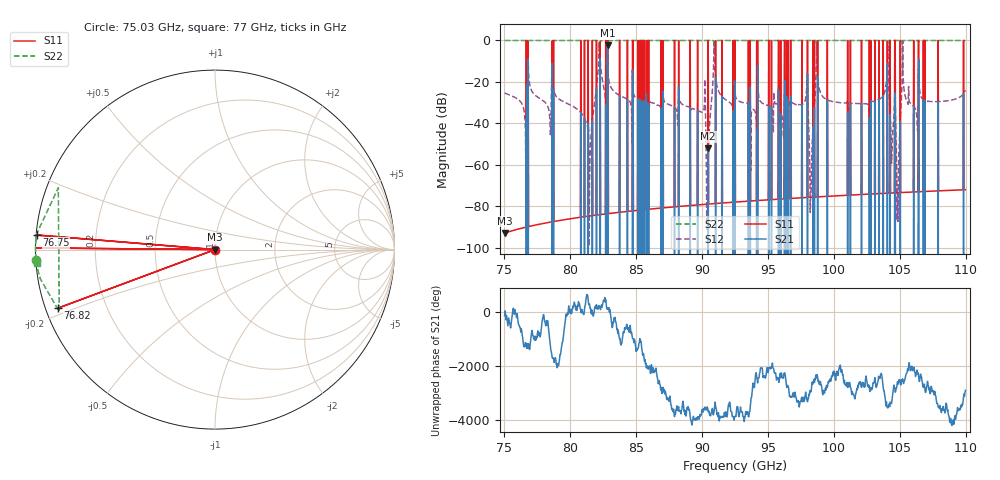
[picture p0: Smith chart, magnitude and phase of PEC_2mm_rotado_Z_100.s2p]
! TOUCHSTONE file generated by CST MICROWAVE STUDIO
! Date and time: Fri Feb 16 17:58:31 2024
! Project name: metal_rotado.cst
! Parameters = {angX=1; angY=2}
! Header version: 2018
! Port assignment regex: !\s*Touchstone port\s*([0-9]+)\s*=\s*(CST MWS port|CST DS port)\s*([0-9]+|Zmin|Zmax)\s*\(\"(.*)\"\)(\s*mode\s*([0-9]+))?.*
! Touchstone port assignment:
! Touchstone port 1 = CST MWS port 1 ("")
! Touchstone port 2 = CST MWS port 2 ("")
# GHz S MA R 376.7
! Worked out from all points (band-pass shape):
!   999 points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, 75.03 GHz to 110 GHz, reference 376.7 ohm
!   highest |S21| = -2.43 dB at 82.84 GHz (marker M1); lowest = -52.1 dB at 90.47 GHz (marker M2)
!   |S21| within 3 dB of the highest: 82.83064 GHz to 82.8484 GHz (17.76 MHz wide, 0.0214 % of centre)
!   lowest |S11| = -92.9 dB at 75.03 GHz (marker M3), VSWR 1.00, Z = 377 + j2.41e-14 ohm
!   |S11| at or under -10 dB: 76.82 GHz to 78.64 GHz (1.812 GHz wide, 2.33 % of centre); 78.75 GHz to 80.81 GHz (2.057 GHz wide, 2.58 % of centre); 107.9 GHz to 109.8 GHz (1.915 GHz wide, 1.76 % of centre) (the widest 3 of 71)
!   |S22| runs from -14.4 to 0.0 dB; largest |S21 - S12| = 0.98
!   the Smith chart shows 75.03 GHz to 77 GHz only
!   S11 on the Smith chart (normalised r, x): 75.03 GHz: 1.00, +0.00; 76.75 GHz: 0.00, +0.04; 76.82 GHz: 0.04, -0.18; 77 GHz: 1.00, +0.00
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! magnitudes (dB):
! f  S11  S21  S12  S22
! 75.03 GHz  -92.9  -  -25.4  0.0
! 76.75 GHz  0.0  -21.1  -21.0  0.0
! 76.82 GHz  -0.6  -8.9  -8.9  -0.6
! 77 GHz  -89.5  -  -22.8  0.0
! 80.88 GHz  -85.2  -  -35.2  0.0
! 82.53 GHz  -83.8  -  -21.7  0.0
! 82.84 GHz  -3.7  -2.4  -2.4  -3.7
! 83.05 GHz  -83.4  -  -22.0  0.0
! 85.29 GHz  0.0  -28.4  -28.4  0.0
! 86.69 GHz  -80.9  -  -31.2  0.0
! 90.47 GHz  0.0  -52.1  -52.1  0.0
! 90.92 GHz  -78.7  -  -1.6  -5.2
! 92.5 GHz  0.0  -25.2  -25.2  0.0
! 92.67 GHz  -77.9  -  -28.7  0.0
! 96.39 GHz  -76.3  -  -25.6  0.0
! 97.89 GHz  -75.8  -  -26.5  0.0
! 98.34 GHz  -75.6  -  -50.8  0.0
! 98.73 GHz  -75.4  -  -12.8  -0.2
! 104.2 GHz  -73.6  -  -22.9  0.0
! 104.9 GHz  -73.4  -  -87.2  0.0
! 105.3 GHz  -73.3  -  -21.0  0.0
! 110 GHz  -72.0  -  -23.9  0.0
